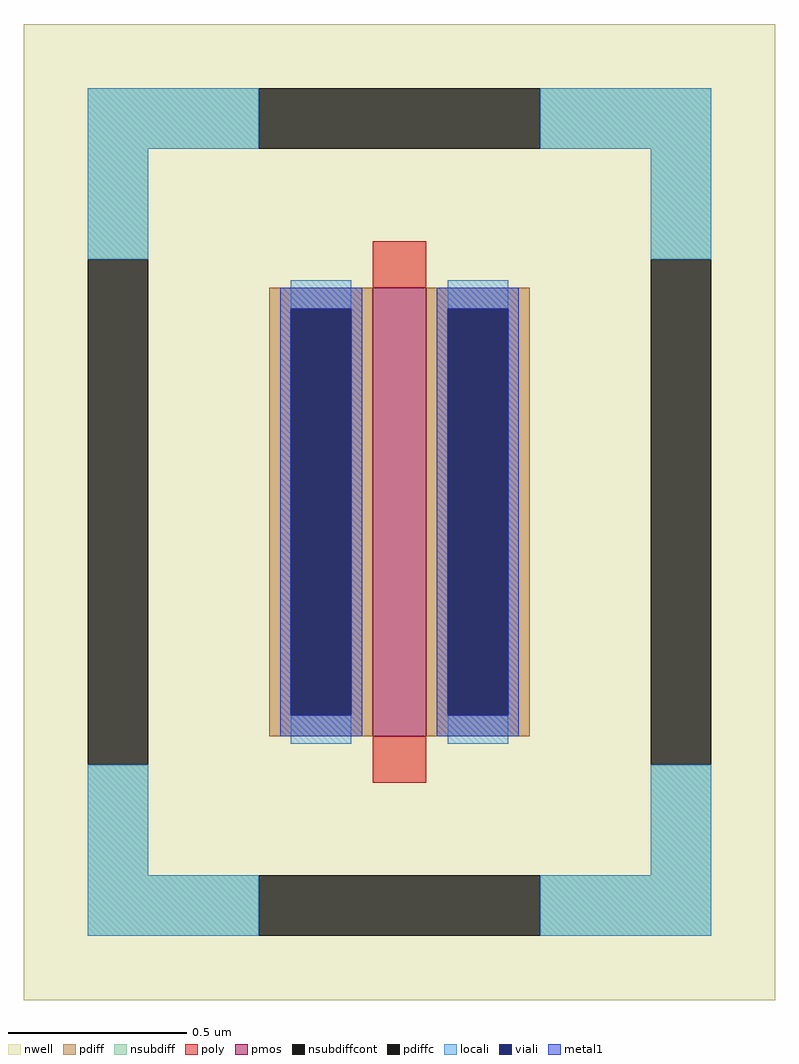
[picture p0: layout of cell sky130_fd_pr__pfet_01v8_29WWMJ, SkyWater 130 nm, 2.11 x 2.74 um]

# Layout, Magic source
magic
tech sky130A
magscale 1 2
<< nwell >>
rect -211 -274 211 274
<< pmos >>
rect -15 -126 15 126
<< pdiff >>
rect -73 114 -15 126
rect -73 -114 -61 114
rect -27 -114 -15 114
rect -73 -126 -15 -114
rect 15 114 73 126
rect 15 -114 27 114
rect 61 -114 73 114
rect 15 -126 73 -114
<< pdiffc >>
rect -61 -114 -27 114
rect 27 -114 61 114
<< nsubdiff >>
rect -175 204 -79 238
rect 79 204 175 238
rect -175 142 -141 204
rect 141 142 175 204
rect -175 -204 -141 -142
rect 141 -204 175 -142
rect -175 -238 -79 -204
rect 79 -238 175 -204
<< nsubdiffcont >>
rect -79 204 79 238
rect -175 -142 -141 142
rect 141 -142 175 142
rect -79 -238 79 -204
<< poly >>
rect -15 126 15 152
rect -15 -152 15 -126
<< locali >>
rect -175 204 -79 238
rect 79 204 175 238
rect -175 142 -141 204
rect 141 142 175 204
rect -61 114 -27 130
rect -61 -130 -27 -114
rect 27 114 61 130
rect 27 -130 61 -114
rect -175 -204 -141 -142
rect 141 -204 175 -142
rect -175 -238 -79 -204
rect 79 -238 175 -204
<< viali >>
rect -61 -114 -27 114
rect 27 -114 61 114
<< metal1 >>
rect -67 114 -21 126
rect -67 -114 -61 114
rect -27 -114 -21 114
rect -67 -126 -21 -114
rect 21 114 67 126
rect 21 -114 27 114
rect 61 -114 67 114
rect 21 -126 67 -114
<< properties >>
string FIXED_BBOX -158 -221 158 221
string gencell sky130_fd_pr__pfet_01v8
string library sky130
string parameters w 1.26 l 0.15 m 1 nf 1 diffcov 100 polycov 100 guard 1 glc 1 grc 1 gtc 1 gbc 1 tbcov 100 rlcov 100 topc 0 botc 0 poverlap 0 doverlap 1 lmin 0.15 wmin 0.42 compatible {sky130_fd_pr__pfet_01v8  sky130_fd_pr__pfet_01v8_lvt sky130_fd_pr__pfet_01v8_hvt  sky130_fd_pr__pfet_g5v0d10v5} full_metal 1 viasrc 100 viadrn 100 viagate 100 viagb 0 viagr 0 viagl 0 viagt 0
<< end >>
